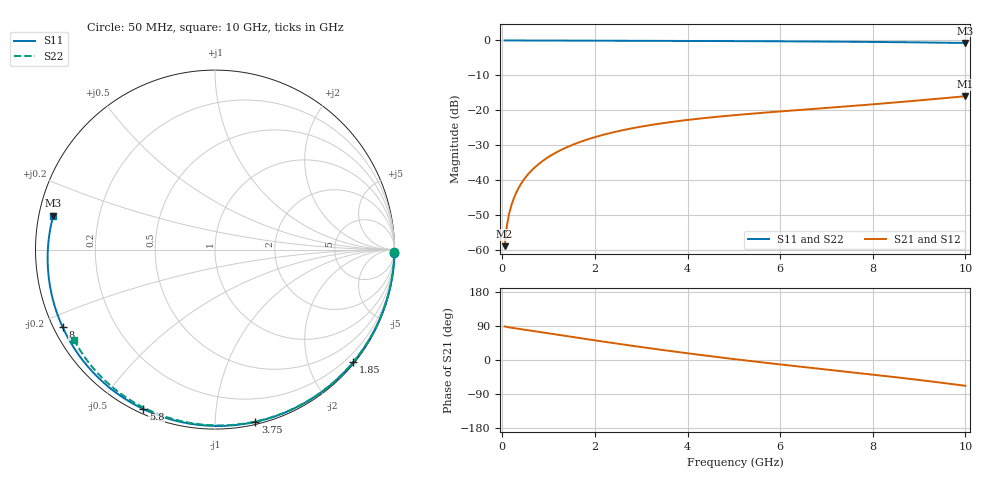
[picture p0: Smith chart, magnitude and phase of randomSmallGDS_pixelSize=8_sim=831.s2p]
! freq	dB(S11)	phase(S11)	dB(S12)	phase(S12)
!  dB(S21)	phase(S21)	dB(S22)	phase(S22)
!S-par simulation data
#  GHz  S  DB  R 50
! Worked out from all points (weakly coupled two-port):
!   200 points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, 50 MHz to 10 GHz, reference 50 ohm
!   highest |S21| = -16.00 dB at 10 GHz (marker M1); lowest = -59.0 dB at 50 MHz (marker M2)
!   lowest |S11| = -0.7 dB at 10 GHz (marker M3), VSWR 24.22, Z = 2.09 + j5.2 ohm
!   |S11| at or under -10 dB: nowhere
!   |S22| runs from -0.6 to 0.0 dB; largest |S21 - S12| = 0
!   S11 on the Smith chart (normalised r, x): 50 MHz: open; 1.85 GHz: 0.03, -2.81; 3.75 GHz: 0.02, -1.26; 5.8 GHz: 0.02, -0.65; 8 GHz: 0.03, -0.24; 10 GHz: 0.04, +0.10
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0.05  -0.00 -1.1  -59.02 88.5  -59.02 88.5  -0.00 -0.9
0.1  -0.00 -2.2  -53.06 87.2  -53.06 87.2  -0.00 -1.7
0.15  -0.00 -3.2  -49.59 86.1  -49.59 86.1  -0.00 -2.6
0.2  -0.00 -4.3  -47.14 85.1  -47.14 85.1  -0.00 -3.5
0.35  -0.01 -7.6  -42.37 82.4  -42.37 82.4  -0.00 -6.1
0.5  -0.01 -10.8  -39.31 79.6  -39.31 79.6  -0.01 -8.7
0.7  -0.02 -15.1  -36.44 75.9  -36.44 75.9  -0.01 -12.1
1  -0.03 -21.5  -33.41 70.3  -33.41 70.3  -0.02 -17.3
1.35  -0.04 -28.8  -30.90 63.8  -30.90 63.8  -0.03 -23.2
1.75  -0.05 -37.1  -28.79 56.4  -28.79 56.4  -0.04 -29.9
1.85  -0.06 -39.2  -28.35 54.5  -28.35 54.5  -0.05 -31.6
2.65  -0.08 -55.4  -25.61 40.2  -25.61 40.2  -0.07 -44.7
3.4  -0.11 -70.1  -23.86 27.4  -23.86 27.4  -0.09 -56.7
3.75  -0.12 -76.8  -23.22 21.7  -23.22 21.7  -0.10 -62.1
4.4  -0.15 -89.0  -22.22 11.5  -22.22 11.5  -0.13 -72.0
5.05  -0.18 -100.8  -21.39 1.7  -21.39 1.7  -0.15 -81.5
5.8  -0.23 -114.2  -20.57 -8.9  -20.57 -8.9  -0.19 -92.2
6.7  -0.29 -130.0  -19.66 -21.1  -19.66 -21.1  -0.24 -104.5
8  -0.42 -153.0  -18.33 -38.6  -18.33 -38.6  -0.35 -121.6
8.35  -0.47 -159.4  -17.94 -43.4  -17.94 -43.4  -0.39 -126.1
9.2  -0.58 -175.5  -16.97 -55.6  -16.97 -55.6  -0.49 -137.0
10  -0.72 168.1  -16.00 -68.2  -16.00 -68.2  -0.61 -147.2
